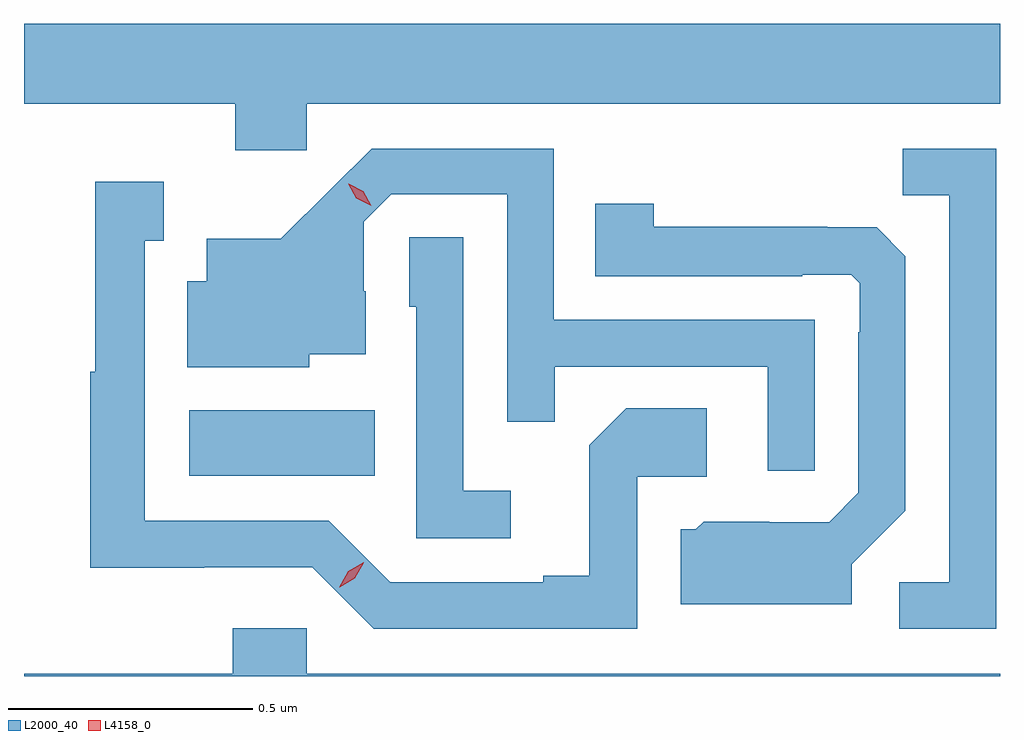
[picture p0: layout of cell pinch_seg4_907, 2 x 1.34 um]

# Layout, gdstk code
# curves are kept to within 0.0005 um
import gdstk
lib = gdstk.Library(unit=1e-6, precision=1e-09)
def R(c, l, rs):  # rectangles x0, y0, x1, y1
    for r in rs: c.add(gdstk.rectangle(r[:2], r[2:], *l))
def P(c, l, *ps):  # polygons
    for p in ps: c.add(gdstk.Polygon(p, *l))
L2000_40 = (2000, 40)
L4158_0 = (4158, 0)

pinch_seg4_907 = lib.new_cell('pinch_seg4_907')
R(pinch_seg4_907, L2000_40, [(705.918,830.69,706.298,830.824)])
P(pinch_seg4_907, L2000_40, [(706.158,831.452),(707.579,831.452),(707.579,831.616),(705.579,831.616),(705.579,831.452),(706.012,831.452),(706.012,831.357),(706.158,831.357)],
  [(707.199,831.009),(706.665,831.009),(706.665,831.36),(706.292,831.36),(706.105,831.175),(705.953,831.175),(705.953,831.088),(705.914,831.088),(705.914,830.912),(706.164,830.912),(706.164,830.939),(706.279,830.939),(706.279,831.068),(706.275,831.068),(706.275,831.21),(706.332,831.267),(706.569,831.267),(706.569,830.8),(706.667,830.8),(706.667,830.913),(707.103,830.913),(707.103,830.7),(707.199,830.7)],
  [(707.571,831.36),(707.38,831.36),(707.38,831.265),(707.475,831.265),(707.475,830.472),(707.373,830.472),(707.373,830.376),(707.571,830.376)],
  [(706.836,830.688),(706.978,830.688),(706.978,830.828),(706.813,830.828),(706.737,830.752),(706.737,830.485),(706.643,830.485),(706.643,830.472),(706.329,830.472),(706.203,830.598),(705.826,830.598),(705.826,831.171),(705.865,831.171),(705.865,831.292),(705.725,831.292),(705.725,830.903),(705.715,830.903),(705.715,830.501),(705.948,830.501),(705.948,830.502),(706.17,830.502),(706.296,830.376),(706.836,830.376)],
  [(707.275,830.508),(707.385,830.618),(707.385,831.14),(707.326,831.199),(707.225,831.199),(707.225,831.2),(706.869,831.2),(706.869,831.247),(706.75,831.247),(706.75,831.099),(707.174,831.099),(707.174,831.102),(707.274,831.102),(707.292,831.084),(707.292,830.984),(707.289,830.984),(707.289,830.655),(707.229,830.595),(707.106,830.595),(707.106,830.596),(706.972,830.596),(706.956,830.58),(706.925,830.58),(706.925,830.426),(707.275,830.426)],
  [(706.576,830.659),(706.479,830.659),(706.479,831.179),(706.368,831.179),(706.368,831.036),(706.383,831.036),(706.383,830.562),(706.576,830.562)],
  [(707.579,830.284),(706.158,830.284),(706.158,830.377),(706.007,830.377),(706.007,830.284),(705.579,830.284),(705.579,830.279),(707.579,830.279)])
P(pinch_seg4_907, L4158_0, [(706.291,831.243),(706.26,831.258),(706.243,831.288),(706.243,831.288),(706.244,831.288),(706.274,831.273),(706.291,831.243),(706.291,831.243)],
  [(706.225,830.461),(706.225,830.461),(706.243,830.494),(706.275,830.513),(706.275,830.513),(706.275,830.512),(706.257,830.48),(706.226,830.461)])

lib.write_gds('pinch_seg4_907.gds')
